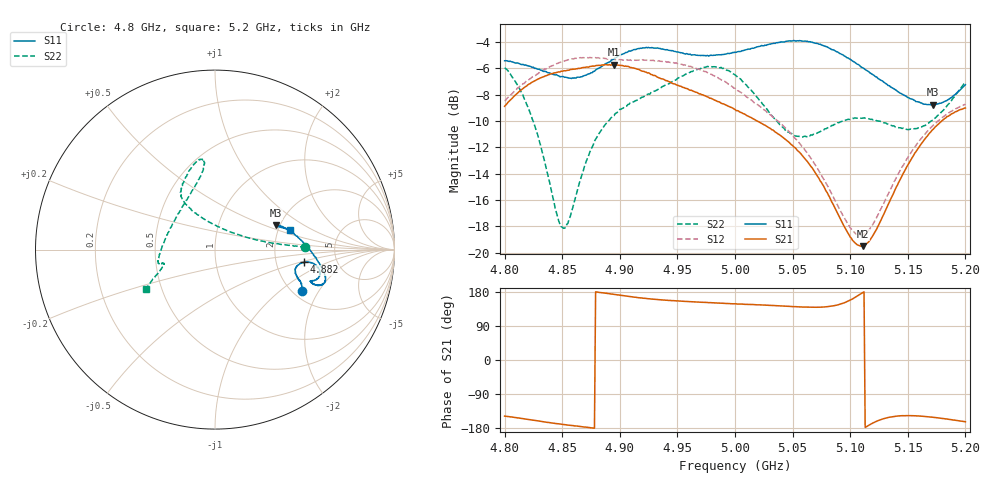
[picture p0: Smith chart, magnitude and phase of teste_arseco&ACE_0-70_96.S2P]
! Network Analyzer HP8722D
! Hewlett-Packard
! Data name: Linha & Wilkinson
! Saver's name: Rodrigo Anjos
! Comments: Teste da utilização de aquisição
! continua pelo VNA HP8722D
! Time and date: 8/5/2025 13:33
!  Frequency  S11  S21  S12  S22
# HZ  S  MA R 50
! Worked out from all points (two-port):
!   401 points, 4.8 GHz to 5.2 GHz, reference 50 ohm
!   highest |S21| = -5.70 dB at 4.895 GHz (marker M1); lowest = -19.5 dB at 5.111 GHz (marker M2)
!   |S21| within 3 dB of the highest: 4.802 GHz to 4.99 GHz (188.4 MHz wide, 3.85 % of centre)
!   lowest |S11| = -8.8 dB at 5.172 GHz (marker M3), VSWR 2.15, Z = 95.2 + j29.6 ohm
!   |S11| at or under -10 dB: nowhere
!   |S22| runs from -18.2 to -5.8 dB; largest |S21 - S12| = 1.1
!   S11 on the Smith chart (normalised r, x): 4.8 GHz: 2.23, -1.44; 4.882 GHz: 2.90, -0.55; 5.2 GHz: 2.33, +0.63
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4.8e9  0.5358 -25.5  0.3598 -148.2  0.3777 11.2  0.5042 1.6
4.813e9  0.522 -22.3  0.4107 -153.5  0.4276 9.4  0.4192 3.3
4.824e9  0.5053 -20.4  0.4447 -158.5  0.4653 7.7  0.3218 6.4
4.849e9  0.4665 -16.2  0.489 -169.4  0.5298 3.8  0.1256 56.4
4.855e9  0.4614 -14.6  0.4932 -171.8  0.5403 2.9  0.1293 84.0
4.867e9  0.4656 -11.3  0.5041 -175.9  0.5496 1.2  0.1967 113.2
4.882e9  0.5026 -8.1  0.5152 178.4  0.549 -0.0  0.2837 122.0
4.895e9  0.546 -7.8  0.5186 173.1  0.543 0.0  0.3315 122.7
4.914e9  0.5916 -11.0  0.5004 165.6  0.5383 0.1  0.3783 120.2
4.934e9  0.597 -15.4  0.4618 158.9  0.5364 -0.7  0.4192 114.4
4.975e9  0.5599 -18.4  0.3928 151.8  0.487 -4.6  0.5077 100.3
5e9  0.5774 -19.2  0.35 148.3  0.4215 -4.4  0.4741 97.5
5.018e9  0.6024 -19.0  0.3183 146.0  0.3678 -1.9  0.3944 103.9
5.044e9  0.6351 -17.3  0.2688 142.0  0.2967 3.5  0.2905 130.9
5.067e9  0.6294 -13.3  0.2099 139.0  0.2251 9.7  0.2793 164.1
5.099e9  0.5463 -2.5  0.1168 156.5  0.1266 37.8  0.321 -169.7
5.111e9  0.5038 3.1  0.1058 178.0  0.1169 61.6  0.3242 -166.6
5.12e9  0.4734 7.6  0.1167 -165.8  0.1286 78.8  0.3188 -165.5
5.134e9  0.4308 14.2  0.1556 -151.0  0.1703 94.7  0.3058 -165.3
5.155e9  0.3806 20.9  0.234 -147.1  0.2483 102.2  0.2951 -163.9
5.172e9  0.3646 21.7  0.2941 -151.2  0.3046 103.2  0.319 -159.9
5.2e9  0.4346 14.7  0.3544 -162.9  0.3667 103.7  0.4447 -150.2
